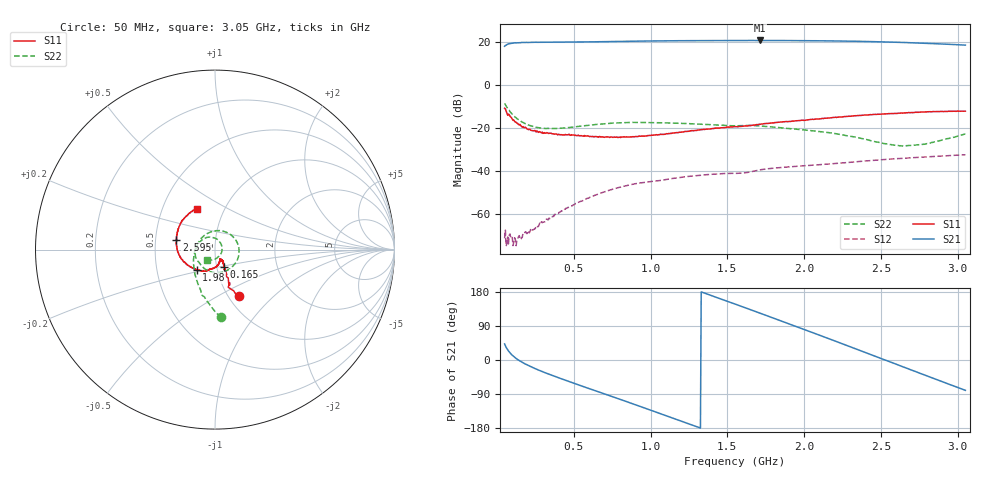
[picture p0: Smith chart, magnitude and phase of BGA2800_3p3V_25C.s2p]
#  HZ  S  RI  R  50.0000
! Rohde & Schwarz ZVA/B
! Temperature 25C
! Device number 1
! Measured Vcc 3.300000
! Measured Icc 0.010826
! DeltaGain  0.103501
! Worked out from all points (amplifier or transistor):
!   601 points, 50 MHz to 3.05 GHz, reference 50 ohm
!   highest |S21| = 20.8 dB at 1.71 GHz (marker M1)
!   |S21| within 3 dB of that: start of sweep to end of sweep
!   unconditionally stable (mu >= 1): start of sweep to end of sweep
!   at 550 MHz: K = 24.14, MAG = 20.2 dB, |S12| = -54.0 dB
!   at 1.55 GHz: K = 5.01, MAG = 20.9 dB, |S12| = -41.0 dB
!   at 3.05 GHz: K = 2.36, MAG = 19.0 dB, |S12| = -32.3 dB
!   S11 on the Smith chart (normalised r, x): 50 MHz: 1.12, -0.64; 165 MHz: 1.08, -0.21; 1.98 GHz: 0.80, -0.18; 2.595 GHz: 0.64, +0.07; 3.05 GHz: 0.74, +0.36
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5e7  0.1345 -0.2595  5.977 5.439  0.000266 -7.21e-05  0.0352 -0.3755
9.5e7  0.0743 -0.159  9.158 2.342  0.000221 -0.000187  -0.0908 -0.201
1.65e8  0.0481 -0.095  9.819 -1.051  -1.93e-07 -0.000293  -0.1195 -0.071
3.4e8  0.0416 -0.0646  7.949 -6.136  -0.000721 -0.000378  -0.0721 0.0681
5.5e8  0.0363 -0.0567  3.748 -9.442  -0.0018 0.000875  0.0446 0.103
8e8  0.0291 -0.0552  -2.456 -10.17  -0.000794 0.00417  0.1342 -0.00423
9.2e8  0.0303 -0.0569  -5.439 -9.139  0.00115 0.00513  0.1187 -0.068
1.05e9  0.027 -0.0652  -8.192 -6.985  0.00335 0.00499  0.0735 -0.1123
1.18e9  0.0215 -0.0763  -10.11 -3.988  0.00557 0.00436  0.0185 -0.1292
1.31e9  0.0123 -0.09  -10.92 -0.4912  0.00752 0.00262  -0.0311 -0.1211
1.55e9  -0.02 -0.1075  -9.28 5.875  0.00878 -0.00165  -0.0876 -0.0731
1.71e9  -0.0408 -0.1167  -6.159 9.147  0.00991 -0.00421  -0.1105 -0.0249
1.845e9  -0.0714 -0.119  -2.61 10.66  0.0092 -0.00796  -0.1015 0.0172
1.98e9  -0.1019 -0.1132  1.219 10.84  0.00724 -0.0111  -0.0793 0.048
2.05e9  -0.1231 -0.104  3.175 10.38  0.00585 -0.0125  -0.0652 0.059
2.185e9  -0.156 -0.0834  6.533 8.545  0.00275 -0.0147  -0.0329 0.0696
2.325e9  -0.1882 -0.0509  9.063 5.453  -0.00133 -0.0164  0.00246 0.0632
2.445e9  -0.2076 -0.0102  10.12 2.258  -0.00564 -0.0169  0.0264 0.0428
2.55e9  -0.2172 0.0341  10.1 -0.6214  -0.00971 -0.0165  0.0379 0.019
2.595e9  -0.2151 0.0553  9.839 -1.814  -0.0114 -0.0159  0.0394 0.00812
2.83e9  -0.185 0.1557  6.424 -6.793  -0.0195 -0.0101  0.0143 -0.0446
3.05e9  -0.1003 0.2287  1.482 -8.461  -0.0242 -0.00108  -0.0437 -0.0598
